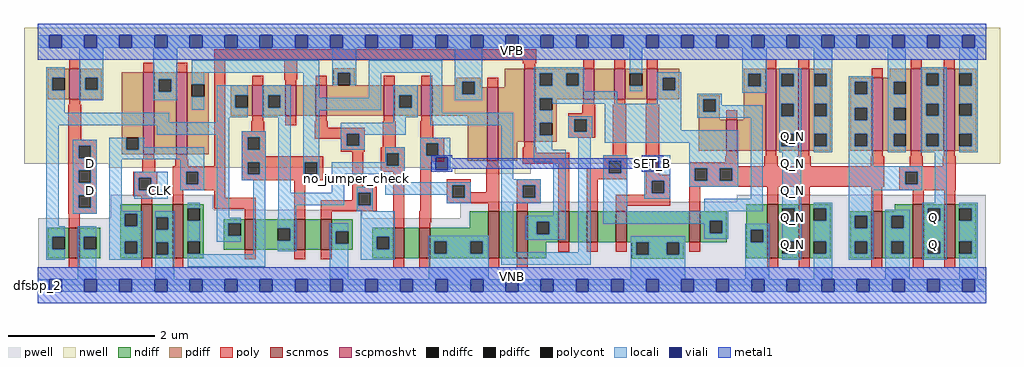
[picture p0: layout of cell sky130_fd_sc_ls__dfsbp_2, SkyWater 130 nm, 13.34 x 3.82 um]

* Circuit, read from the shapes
.subckt sky130_fd_sc_ls__dfsbp_2 CLK D SET_B VGND VNB VPB VPWR Q Q_N
XM1 VGND D n1 VNB sky130_fd_pr__nfet_01v8 w=0.42 l=0.15
XM2 VGND CLK n2 VNB sky130_fd_pr__nfet_01v8 w=0.74 l=0.15
XM3 n3 n2 VGND VNB sky130_fd_pr__nfet_01v8 w=0.74 l=0.15
XM4 n4 n2 n1 VNB sky130_fd_pr__nfet_01v8 w=0.42 l=0.15
XM5 n5 n3 n4 VNB sky130_fd_pr__nfet_01v8 w=0.42 l=0.15
XM6 VGND n6 n5 VNB sky130_fd_pr__nfet_01v8 w=0.42 l=0.15
XM7 n7 n4 n6 VNB sky130_fd_pr__nfet_01v8 w=0.42 l=0.15
XM8 VGND SET_B n7 VNB sky130_fd_pr__nfet_01v8 w=0.42 l=0.15
XM9 n8 n4 VGND VNB sky130_fd_pr__nfet_01v8 w=0.64 l=0.15
XM10 n9 n3 n8 VNB sky130_fd_pr__nfet_01v8 w=0.64 l=0.15
XM11 n10 n2 n9 VNB sky130_fd_pr__nfet_01v8 w=0.42 l=0.15
XM12 n11 n12 n10 VNB sky130_fd_pr__nfet_01v8 w=0.42 l=0.15
XM13 VGND SET_B n11 VNB sky130_fd_pr__nfet_01v8 w=0.42 l=0.15
XM14 n12 n9 VGND VNB sky130_fd_pr__nfet_01v8 w=0.42 l=0.15
XM15 Q_N n9 VGND VNB sky130_fd_pr__nfet_01v8 w=0.74 l=0.15 m=2
XM16 VGND n9 n13 VNB sky130_fd_pr__nfet_01v8 w=0.64 l=0.15
XM17 Q n13 VGND VNB sky130_fd_pr__nfet_01v8 w=0.74 l=0.15 m=2
XM18 VPWR D n1 VPB sky130_fd_pr__pfet_01v8_hvt w=0.42 l=0.15
XM19 VPWR CLK n2 VPB sky130_fd_pr__pfet_01v8_hvt w=1.12 l=0.15
XM20 n3 n2 VPWR VPB sky130_fd_pr__pfet_01v8_hvt w=1.12 l=0.15
XM21 n4 n3 n1 VPB sky130_fd_pr__pfet_01v8_hvt w=0.42 l=0.15
XM22 n14 n2 n4 VPB sky130_fd_pr__pfet_01v8_hvt w=0.42 l=0.15
XM23 VPWR n6 n14 VPB sky130_fd_pr__pfet_01v8_hvt w=0.42 l=0.15
XM24 n6 n4 VPWR VPB sky130_fd_pr__pfet_01v8_hvt w=0.42 l=0.15
XM25 VPWR SET_B n6 VPB sky130_fd_pr__pfet_01v8_hvt w=0.42 l=0.15
XM26 n15 n4 VPWR VPB sky130_fd_pr__pfet_01v8_hvt w=1 l=0.15
XM27 n9 n2 n15 VPB sky130_fd_pr__pfet_01v8_hvt w=1 l=0.15
XM28 n16 n3 n9 VPB sky130_fd_pr__pfet_01v8_hvt w=0.42 l=0.15
XM29 VPWR n12 n16 VPB sky130_fd_pr__pfet_01v8_hvt w=0.42 l=0.15
XM30 n9 SET_B VPWR VPB sky130_fd_pr__pfet_01v8_hvt w=0.42 l=0.15
XM31 VPWR n9 n12 VPB sky130_fd_pr__pfet_01v8_hvt w=0.42 l=0.15
XM32 Q_N n9 VPWR VPB sky130_fd_pr__pfet_01v8_hvt w=1.12 l=0.15 m=2
XM33 VPWR n9 n13 VPB sky130_fd_pr__pfet_01v8_hvt w=1 l=0.15
XM34 Q n13 VPWR VPB sky130_fd_pr__pfet_01v8_hvt w=1.12 l=0.15 m=2
.ends

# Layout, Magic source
magic
tech sky130A
magscale 1 2
<< nwell >>
rect -38 332 2630 704
rect 193 322 1347 332
rect 1139 305 1347 322
<< pwell >>
rect 199 207 480 248
rect 1911 228 2591 248
rect 199 184 886 207
rect 1155 184 2591 228
rect 1 49 2591 184
rect 0 0 2592 49
<< scnmos >>
rect 84 74 114 158
rect 282 74 312 222
rect 368 74 398 222
rect 565 97 595 181
rect 701 97 731 181
rect 773 97 803 181
rect 971 74 1001 158
rect 1043 74 1073 158
rect 1231 74 1261 202
rect 1309 74 1339 202
rect 1423 118 1453 202
rect 1501 118 1531 202
rect 1579 118 1609 202
rect 1780 118 1810 202
rect 1994 74 2024 222
rect 2080 74 2110 222
rect 2278 74 2308 202
rect 2392 74 2422 222
rect 2478 74 2508 222
<< scpmoshvt >>
rect 86 508 116 592
rect 288 358 318 582
rect 378 358 408 582
rect 586 463 616 547
rect 676 463 706 547
rect 760 463 790 547
rect 945 463 975 547
rect 1048 463 1078 547
rect 1228 341 1258 541
rect 1329 392 1359 592
rect 1491 508 1521 592
rect 1575 508 1605 592
rect 1665 508 1695 592
rect 1882 368 1912 452
rect 1989 368 2019 592
rect 2079 368 2109 592
rect 2280 368 2310 568
rect 2386 368 2416 592
rect 2476 368 2506 592
<< ndiff >>
rect 225 195 282 222
rect 225 161 237 195
rect 271 161 282 195
rect 27 133 84 158
rect 27 99 39 133
rect 73 99 84 133
rect 27 74 84 99
rect 114 133 171 158
rect 114 99 125 133
rect 159 99 171 133
rect 114 74 171 99
rect 225 120 282 161
rect 225 86 237 120
rect 271 86 282 120
rect 225 74 282 86
rect 312 186 368 222
rect 312 152 323 186
rect 357 152 368 186
rect 312 118 368 152
rect 312 84 323 118
rect 357 84 368 118
rect 312 74 368 84
rect 398 210 454 222
rect 398 176 409 210
rect 443 176 454 210
rect 398 120 454 176
rect 398 86 409 120
rect 443 86 454 120
rect 508 169 565 181
rect 508 135 520 169
rect 554 135 565 169
rect 508 97 565 135
rect 595 156 701 181
rect 595 122 656 156
rect 690 122 701 156
rect 595 97 701 122
rect 731 97 773 181
rect 803 148 860 181
rect 1181 158 1231 202
rect 803 114 814 148
rect 848 114 860 148
rect 803 97 860 114
rect 914 133 971 158
rect 914 99 926 133
rect 960 99 971 133
rect 398 74 454 86
rect 914 74 971 99
rect 1001 74 1043 158
rect 1073 120 1231 158
rect 1073 86 1084 120
rect 1118 86 1182 120
rect 1216 86 1231 120
rect 1073 74 1231 86
rect 1261 74 1309 202
rect 1339 174 1423 202
rect 1339 140 1364 174
rect 1398 140 1423 174
rect 1339 118 1423 140
rect 1453 118 1501 202
rect 1531 118 1579 202
rect 1609 118 1780 202
rect 1810 177 1883 202
rect 1810 143 1837 177
rect 1871 143 1883 177
rect 1810 118 1883 143
rect 1937 152 1994 222
rect 1937 118 1949 152
rect 1983 118 1994 152
rect 1339 74 1389 118
rect 1624 84 1636 118
rect 1670 84 1719 118
rect 1753 84 1765 118
rect 1624 72 1765 84
rect 1937 74 1994 118
rect 2024 210 2080 222
rect 2024 176 2035 210
rect 2069 176 2080 210
rect 2024 120 2080 176
rect 2024 86 2035 120
rect 2069 86 2080 120
rect 2024 74 2080 86
rect 2110 210 2167 222
rect 2110 176 2121 210
rect 2155 176 2167 210
rect 2342 202 2392 222
rect 2110 120 2167 176
rect 2110 86 2121 120
rect 2155 86 2167 120
rect 2110 74 2167 86
rect 2221 190 2278 202
rect 2221 156 2233 190
rect 2267 156 2278 190
rect 2221 120 2278 156
rect 2221 86 2233 120
rect 2267 86 2278 120
rect 2221 74 2278 86
rect 2308 190 2392 202
rect 2308 156 2333 190
rect 2367 156 2392 190
rect 2308 120 2392 156
rect 2308 86 2333 120
rect 2367 86 2392 120
rect 2308 74 2392 86
rect 2422 210 2478 222
rect 2422 176 2433 210
rect 2467 176 2478 210
rect 2422 120 2478 176
rect 2422 86 2433 120
rect 2467 86 2478 120
rect 2422 74 2478 86
rect 2508 210 2565 222
rect 2508 176 2519 210
rect 2553 176 2565 210
rect 2508 120 2565 176
rect 2508 86 2519 120
rect 2553 86 2565 120
rect 2508 74 2565 86
<< pdiff >>
rect 27 567 86 592
rect 27 533 39 567
rect 73 533 86 567
rect 27 508 86 533
rect 116 568 175 592
rect 116 534 129 568
rect 163 534 175 568
rect 116 508 175 534
rect 229 404 288 582
rect 229 370 241 404
rect 275 370 288 404
rect 229 358 288 370
rect 318 563 378 582
rect 318 529 331 563
rect 365 529 378 563
rect 318 358 378 529
rect 408 550 467 582
rect 408 516 421 550
rect 455 516 467 550
rect 408 358 467 516
rect 808 581 866 593
rect 808 547 820 581
rect 854 547 866 581
rect 1144 556 1210 568
rect 1144 547 1160 556
rect 527 520 586 547
rect 527 486 539 520
rect 573 486 586 520
rect 527 463 586 486
rect 616 520 676 547
rect 616 486 629 520
rect 663 486 676 520
rect 616 463 676 486
rect 706 463 760 547
rect 790 463 945 547
rect 975 520 1048 547
rect 975 486 988 520
rect 1022 486 1048 520
rect 975 463 1048 486
rect 1078 522 1160 547
rect 1194 541 1210 556
rect 1276 541 1329 592
rect 1194 522 1228 541
rect 1078 463 1228 522
rect 1175 341 1228 463
rect 1258 392 1329 541
rect 1359 580 1491 592
rect 1359 546 1372 580
rect 1406 546 1444 580
rect 1478 546 1491 580
rect 1359 512 1491 546
rect 1359 478 1372 512
rect 1406 508 1491 512
rect 1521 508 1575 592
rect 1605 580 1665 592
rect 1605 546 1618 580
rect 1652 546 1665 580
rect 1605 508 1665 546
rect 1695 567 1753 592
rect 1695 533 1708 567
rect 1742 533 1753 567
rect 1695 508 1753 533
rect 1930 578 1989 592
rect 1930 544 1942 578
rect 1976 544 1989 578
rect 1807 508 1864 520
rect 1406 478 1418 508
rect 1359 444 1418 478
rect 1359 410 1372 444
rect 1406 410 1418 444
rect 1359 392 1418 410
rect 1258 341 1311 392
rect 1807 474 1819 508
rect 1853 474 1864 508
rect 1807 452 1864 474
rect 1930 452 1989 544
rect 1807 368 1882 452
rect 1912 368 1989 452
rect 2019 578 2079 592
rect 2019 544 2032 578
rect 2066 544 2079 578
rect 2019 496 2079 544
rect 2019 462 2032 496
rect 2066 462 2079 496
rect 2019 414 2079 462
rect 2019 380 2032 414
rect 2066 380 2079 414
rect 2019 368 2079 380
rect 2109 578 2167 592
rect 2109 544 2122 578
rect 2156 544 2167 578
rect 2328 568 2386 592
rect 2109 496 2167 544
rect 2109 462 2122 496
rect 2156 462 2167 496
rect 2109 414 2167 462
rect 2109 380 2122 414
rect 2156 380 2167 414
rect 2109 368 2167 380
rect 2221 556 2280 568
rect 2221 522 2233 556
rect 2267 522 2280 556
rect 2221 485 2280 522
rect 2221 451 2233 485
rect 2267 451 2280 485
rect 2221 414 2280 451
rect 2221 380 2233 414
rect 2267 380 2280 414
rect 2221 368 2280 380
rect 2310 556 2386 568
rect 2310 522 2339 556
rect 2373 522 2386 556
rect 2310 485 2386 522
rect 2310 451 2339 485
rect 2373 451 2386 485
rect 2310 414 2386 451
rect 2310 380 2339 414
rect 2373 380 2386 414
rect 2310 368 2386 380
rect 2416 580 2476 592
rect 2416 546 2429 580
rect 2463 546 2476 580
rect 2416 497 2476 546
rect 2416 463 2429 497
rect 2463 463 2476 497
rect 2416 414 2476 463
rect 2416 380 2429 414
rect 2463 380 2476 414
rect 2416 368 2476 380
rect 2506 580 2565 592
rect 2506 546 2519 580
rect 2553 546 2565 580
rect 2506 497 2565 546
rect 2506 463 2519 497
rect 2553 463 2565 497
rect 2506 414 2565 463
rect 2506 380 2519 414
rect 2553 380 2565 414
rect 2506 368 2565 380
<< ndiffc >>
rect 237 161 271 195
rect 39 99 73 133
rect 125 99 159 133
rect 237 86 271 120
rect 323 152 357 186
rect 323 84 357 118
rect 409 176 443 210
rect 409 86 443 120
rect 520 135 554 169
rect 656 122 690 156
rect 814 114 848 148
rect 926 99 960 133
rect 1084 86 1118 120
rect 1182 86 1216 120
rect 1364 140 1398 174
rect 1837 143 1871 177
rect 1949 118 1983 152
rect 1636 84 1670 118
rect 1719 84 1753 118
rect 2035 176 2069 210
rect 2035 86 2069 120
rect 2121 176 2155 210
rect 2121 86 2155 120
rect 2233 156 2267 190
rect 2233 86 2267 120
rect 2333 156 2367 190
rect 2333 86 2367 120
rect 2433 176 2467 210
rect 2433 86 2467 120
rect 2519 176 2553 210
rect 2519 86 2553 120
<< pdiffc >>
rect 39 533 73 567
rect 129 534 163 568
rect 241 370 275 404
rect 331 529 365 563
rect 421 516 455 550
rect 820 547 854 581
rect 539 486 573 520
rect 629 486 663 520
rect 988 486 1022 520
rect 1160 522 1194 556
rect 1372 546 1406 580
rect 1444 546 1478 580
rect 1372 478 1406 512
rect 1618 546 1652 580
rect 1708 533 1742 567
rect 1942 544 1976 578
rect 1372 410 1406 444
rect 1819 474 1853 508
rect 2032 544 2066 578
rect 2032 462 2066 496
rect 2032 380 2066 414
rect 2122 544 2156 578
rect 2122 462 2156 496
rect 2122 380 2156 414
rect 2233 522 2267 556
rect 2233 451 2267 485
rect 2233 380 2267 414
rect 2339 522 2373 556
rect 2339 451 2373 485
rect 2339 380 2373 414
rect 2429 546 2463 580
rect 2429 463 2463 497
rect 2429 380 2463 414
rect 2519 546 2553 580
rect 2519 463 2553 497
rect 2519 380 2553 414
<< poly >>
rect 86 592 116 618
rect 482 615 1362 645
rect 288 582 318 608
rect 378 582 408 608
rect 86 493 116 508
rect 83 398 119 493
rect 83 382 161 398
rect 83 348 111 382
rect 145 348 161 382
rect 83 314 161 348
rect 288 343 318 358
rect 378 343 408 358
rect 83 280 111 314
rect 145 280 161 314
rect 285 310 321 343
rect 375 326 411 343
rect 482 326 512 615
rect 586 547 616 573
rect 673 562 709 615
rect 1326 607 1362 615
rect 1329 592 1359 607
rect 1491 592 1521 618
rect 1575 592 1605 618
rect 1665 592 1695 618
rect 1989 592 2019 618
rect 2079 592 2109 618
rect 676 547 706 562
rect 760 547 790 573
rect 945 547 975 573
rect 1048 547 1078 573
rect 1228 541 1258 567
rect 586 448 616 463
rect 583 421 619 448
rect 676 437 706 463
rect 760 448 790 463
rect 945 448 975 463
rect 1048 448 1078 463
rect 757 431 793 448
rect 368 310 512 326
rect 83 246 161 280
rect 83 212 111 246
rect 145 212 161 246
rect 260 294 326 310
rect 260 260 276 294
rect 310 260 326 294
rect 260 244 326 260
rect 368 276 405 310
rect 439 276 512 310
rect 557 405 623 421
rect 557 371 573 405
rect 607 371 623 405
rect 757 415 894 431
rect 757 401 844 415
rect 557 353 623 371
rect 828 381 844 401
rect 878 381 894 415
rect 828 365 894 381
rect 942 377 978 448
rect 1045 404 1081 448
rect 1045 388 1111 404
rect 557 337 780 353
rect 557 303 573 337
rect 607 303 730 337
rect 764 303 780 337
rect 557 287 780 303
rect 368 260 512 276
rect 282 222 312 244
rect 368 222 398 260
rect 482 239 512 260
rect 83 196 161 212
rect 84 158 114 196
rect 482 209 595 239
rect 565 181 595 209
rect 701 181 731 287
rect 859 269 889 365
rect 937 361 1003 377
rect 937 327 953 361
rect 987 327 1003 361
rect 937 311 1003 327
rect 1045 354 1061 388
rect 1095 354 1111 388
rect 1045 338 1111 354
rect 1491 493 1521 508
rect 1575 493 1605 508
rect 1665 493 1695 508
rect 1488 470 1524 493
rect 1450 454 1524 470
rect 1450 420 1466 454
rect 1500 420 1524 454
rect 1450 404 1524 420
rect 1329 377 1359 392
rect 1326 362 1362 377
rect 859 253 926 269
rect 859 233 876 253
rect 773 219 876 233
rect 910 219 926 253
rect 773 203 926 219
rect 773 181 803 203
rect 971 158 1001 311
rect 1045 203 1075 338
rect 1228 326 1258 341
rect 1326 332 1453 362
rect 1572 356 1608 493
rect 1117 274 1183 290
rect 1117 240 1133 274
rect 1167 254 1183 274
rect 1225 254 1261 326
rect 1167 240 1261 254
rect 1117 224 1261 240
rect 1043 173 1075 203
rect 1231 202 1261 224
rect 1309 274 1375 290
rect 1309 240 1325 274
rect 1359 240 1375 274
rect 1309 224 1375 240
rect 1309 202 1339 224
rect 1423 202 1453 332
rect 1545 340 1611 356
rect 1545 320 1561 340
rect 1501 306 1561 320
rect 1595 306 1611 340
rect 1501 290 1611 306
rect 1662 302 1698 493
rect 1882 452 1912 478
rect 2280 568 2310 594
rect 2386 592 2416 618
rect 2476 592 2506 618
rect 1882 353 1912 368
rect 1989 353 2019 368
rect 2079 353 2109 368
rect 2280 353 2310 368
rect 2386 353 2416 368
rect 2476 353 2506 368
rect 1879 336 1915 353
rect 1780 326 1915 336
rect 1986 326 2022 353
rect 2076 326 2112 353
rect 2277 326 2313 353
rect 2383 326 2419 353
rect 2473 326 2509 353
rect 1780 320 2313 326
rect 1501 202 1531 290
rect 1662 286 1728 302
rect 1662 252 1678 286
rect 1712 252 1728 286
rect 1662 248 1728 252
rect 1579 218 1728 248
rect 1780 286 1796 320
rect 1830 286 1864 320
rect 1898 286 2313 320
rect 1780 270 2313 286
rect 2355 310 2509 326
rect 2355 276 2371 310
rect 2405 276 2509 310
rect 1579 202 1609 218
rect 1780 202 1810 270
rect 1994 222 2024 270
rect 2080 222 2110 270
rect 1043 158 1073 173
rect 84 48 114 74
rect 282 48 312 74
rect 368 48 398 74
rect 565 71 595 97
rect 701 71 731 97
rect 773 71 803 97
rect 1423 92 1453 118
rect 1501 92 1531 118
rect 1579 92 1609 118
rect 1780 92 1810 118
rect 971 48 1001 74
rect 1043 48 1073 74
rect 1231 48 1261 74
rect 1309 48 1339 74
rect 2278 202 2308 270
rect 2355 260 2509 276
rect 2392 222 2422 260
rect 2478 222 2508 260
rect 1994 48 2024 74
rect 2080 48 2110 74
rect 2278 48 2308 74
rect 2392 48 2422 74
rect 2478 48 2508 74
<< polycont >>
rect 111 348 145 382
rect 111 280 145 314
rect 111 212 145 246
rect 276 260 310 294
rect 405 276 439 310
rect 573 371 607 405
rect 844 381 878 415
rect 573 303 607 337
rect 730 303 764 337
rect 953 327 987 361
rect 1061 354 1095 388
rect 1466 420 1500 454
rect 876 219 910 253
rect 1133 240 1167 274
rect 1325 240 1359 274
rect 1561 306 1595 340
rect 1678 252 1712 286
rect 1796 286 1830 320
rect 1864 286 1898 320
rect 2371 276 2405 310
<< locali >>
rect 0 649 31 683
rect 65 649 127 683
rect 161 649 223 683
rect 257 649 319 683
rect 353 649 415 683
rect 449 649 511 683
rect 545 649 607 683
rect 641 649 703 683
rect 737 649 799 683
rect 833 649 895 683
rect 929 649 991 683
rect 1025 649 1087 683
rect 1121 649 1183 683
rect 1217 649 1279 683
rect 1313 649 1375 683
rect 1409 649 1471 683
rect 1505 649 1567 683
rect 1601 649 1663 683
rect 1697 649 1759 683
rect 1793 649 1855 683
rect 1889 649 1951 683
rect 1985 649 2047 683
rect 2081 649 2143 683
rect 2177 649 2239 683
rect 2273 649 2335 683
rect 2369 649 2431 683
rect 2465 649 2527 683
rect 2561 649 2592 683
rect 23 567 73 596
rect 23 533 39 567
rect 23 472 73 533
rect 113 568 179 649
rect 113 534 129 568
rect 163 534 179 568
rect 113 506 179 534
rect 315 563 381 649
rect 315 529 331 563
rect 365 529 381 563
rect 315 506 381 529
rect 421 581 769 615
rect 421 550 455 581
rect 421 480 455 516
rect 489 520 573 547
rect 489 486 539 520
rect 23 446 359 472
rect 489 459 573 486
rect 613 520 691 547
rect 613 486 629 520
rect 663 486 691 520
rect 613 459 691 486
rect 489 446 523 459
rect 23 438 523 446
rect 23 162 57 438
rect 325 412 523 438
rect 95 382 161 398
rect 95 348 111 382
rect 145 348 161 382
rect 95 314 161 348
rect 95 280 111 314
rect 145 280 161 314
rect 95 246 161 280
rect 95 212 111 246
rect 145 212 161 246
rect 95 196 161 212
rect 195 370 241 404
rect 275 378 291 404
rect 275 370 455 378
rect 195 344 455 370
rect 195 202 229 344
rect 389 310 455 344
rect 263 294 355 310
rect 263 260 276 294
rect 310 260 355 294
rect 389 276 405 310
rect 439 276 455 310
rect 389 260 455 276
rect 263 236 355 260
rect 409 210 443 226
rect 195 195 287 202
rect 23 133 73 162
rect 23 99 39 133
rect 23 70 73 99
rect 109 133 159 162
rect 109 99 125 133
rect 109 17 159 99
rect 195 161 237 195
rect 271 161 287 195
rect 195 120 287 161
rect 195 86 237 120
rect 271 86 287 120
rect 195 70 287 86
rect 321 186 373 202
rect 321 152 323 186
rect 357 152 373 186
rect 321 118 373 152
rect 321 84 323 118
rect 357 84 373 118
rect 321 17 373 84
rect 409 120 443 176
rect 489 185 523 412
rect 557 405 623 421
rect 557 371 573 405
rect 607 371 623 405
rect 557 337 623 371
rect 557 303 573 337
rect 607 303 623 337
rect 557 287 623 303
rect 489 169 554 185
rect 489 135 520 169
rect 489 119 554 135
rect 409 85 443 86
rect 588 85 622 287
rect 657 253 691 459
rect 725 513 769 581
rect 804 581 870 649
rect 804 547 820 581
rect 854 547 870 581
rect 904 581 1106 615
rect 904 513 938 581
rect 725 479 938 513
rect 972 520 1038 547
rect 972 486 988 520
rect 1022 486 1038 520
rect 725 337 769 479
rect 972 459 1038 486
rect 1072 472 1106 581
rect 1140 556 1214 649
rect 1140 522 1160 556
rect 1194 522 1214 556
rect 1140 506 1214 522
rect 1356 580 1494 596
rect 1356 546 1372 580
rect 1406 546 1444 580
rect 1478 546 1494 580
rect 1356 530 1494 546
rect 1618 580 1652 649
rect 1618 530 1652 546
rect 1692 567 1758 583
rect 1692 533 1708 567
rect 1742 533 1758 567
rect 1356 512 1584 530
rect 1356 478 1372 512
rect 1406 496 1584 512
rect 1692 496 1758 533
rect 1926 578 1992 649
rect 1926 544 1942 578
rect 1976 544 1992 578
rect 1926 526 1992 544
rect 2026 578 2087 594
rect 2026 544 2032 578
rect 2066 544 2087 578
rect 972 445 1006 459
rect 828 415 1006 445
rect 1072 438 1300 472
rect 828 381 844 415
rect 878 411 1006 415
rect 878 381 894 411
rect 828 371 894 381
rect 1045 388 1127 404
rect 950 361 1003 377
rect 950 337 953 361
rect 725 303 730 337
rect 764 303 769 337
rect 725 287 769 303
rect 803 327 953 337
rect 987 327 1003 361
rect 803 303 1003 327
rect 1045 354 1061 388
rect 1095 354 1127 388
rect 1045 350 1127 354
rect 1045 316 1087 350
rect 1121 316 1127 350
rect 803 253 837 303
rect 950 282 1003 303
rect 1266 290 1300 438
rect 1356 444 1406 478
rect 1356 410 1372 444
rect 1356 370 1406 410
rect 1450 454 1516 462
rect 1450 420 1466 454
rect 1500 420 1516 454
rect 1450 404 1516 420
rect 1550 424 1758 496
rect 1803 508 1869 524
rect 1803 474 1819 508
rect 1853 492 1869 508
rect 2026 496 2087 544
rect 1853 474 1982 492
rect 1803 458 1982 474
rect 1356 336 1443 370
rect 950 274 1183 282
rect 657 219 837 253
rect 871 253 916 269
rect 871 219 876 253
rect 910 219 916 253
rect 950 248 1133 274
rect 1117 240 1133 248
rect 1167 240 1183 274
rect 1117 224 1183 240
rect 1266 274 1375 290
rect 1266 240 1325 274
rect 1359 240 1375 274
rect 1266 224 1375 240
rect 657 185 706 219
rect 871 203 916 219
rect 656 156 706 185
rect 690 122 706 156
rect 656 93 706 122
rect 798 148 848 169
rect 798 114 814 148
rect 409 51 622 85
rect 798 17 848 114
rect 882 133 976 203
rect 882 99 926 133
rect 960 99 976 133
rect 882 70 976 99
rect 1068 120 1232 136
rect 1068 86 1084 120
rect 1118 86 1182 120
rect 1216 86 1232 120
rect 1068 17 1232 86
rect 1266 90 1300 224
rect 1409 190 1443 336
rect 1334 174 1443 190
rect 1334 140 1364 174
rect 1398 140 1443 174
rect 1334 124 1443 140
rect 1477 90 1511 404
rect 1550 390 1914 424
rect 1545 340 1611 356
rect 1545 306 1561 340
rect 1595 306 1611 340
rect 1545 202 1611 306
rect 1657 350 1728 356
rect 1657 316 1663 350
rect 1697 316 1728 350
rect 1657 286 1728 316
rect 1657 252 1678 286
rect 1712 252 1728 286
rect 1780 320 1914 390
rect 1780 286 1796 320
rect 1830 286 1864 320
rect 1898 286 1914 320
rect 1780 270 1914 286
rect 1657 236 1728 252
rect 1948 236 1982 458
rect 2026 462 2032 496
rect 2066 462 2087 496
rect 2026 414 2087 462
rect 2026 380 2032 414
rect 2066 380 2087 414
rect 2026 364 2087 380
rect 2121 578 2172 649
rect 2121 544 2122 578
rect 2156 544 2172 578
rect 2121 496 2172 544
rect 2121 462 2122 496
rect 2156 462 2172 496
rect 2121 414 2172 462
rect 2121 380 2122 414
rect 2156 380 2172 414
rect 2121 364 2172 380
rect 2217 556 2283 572
rect 2217 522 2233 556
rect 2267 522 2283 556
rect 2217 485 2283 522
rect 2217 451 2233 485
rect 2267 451 2283 485
rect 2217 414 2283 451
rect 2217 380 2233 414
rect 2267 380 2283 414
rect 1821 202 1982 236
rect 2035 210 2087 364
rect 2217 326 2283 380
rect 2323 556 2373 649
rect 2323 522 2339 556
rect 2323 485 2373 522
rect 2323 451 2339 485
rect 2323 414 2373 451
rect 2323 380 2339 414
rect 2323 364 2373 380
rect 2413 580 2485 596
rect 2413 546 2429 580
rect 2463 546 2485 580
rect 2413 497 2485 546
rect 2413 463 2429 497
rect 2463 463 2485 497
rect 2413 414 2485 463
rect 2413 380 2429 414
rect 2463 380 2485 414
rect 2413 364 2485 380
rect 2519 580 2569 649
rect 2553 546 2569 580
rect 2519 497 2569 546
rect 2553 463 2569 497
rect 2519 414 2569 463
rect 2553 380 2569 414
rect 2519 364 2569 380
rect 2217 310 2417 326
rect 2217 276 2371 310
rect 2405 276 2417 310
rect 2217 260 2417 276
rect 1545 177 1887 202
rect 1545 168 1837 177
rect 1821 143 1837 168
rect 1871 143 1887 177
rect 2069 176 2087 210
rect 1266 56 1511 90
rect 1620 118 1769 134
rect 1821 127 1887 143
rect 1933 152 1999 168
rect 1620 84 1636 118
rect 1670 84 1719 118
rect 1753 84 1769 118
rect 1620 17 1769 84
rect 1933 118 1949 152
rect 1983 118 1999 152
rect 1933 17 1999 118
rect 2035 120 2087 176
rect 2069 86 2087 120
rect 2035 70 2087 86
rect 2121 210 2171 226
rect 2155 176 2171 210
rect 2121 120 2171 176
rect 2155 86 2171 120
rect 2121 17 2171 86
rect 2217 190 2283 260
rect 2451 226 2485 364
rect 2417 210 2485 226
rect 2217 156 2233 190
rect 2267 156 2283 190
rect 2217 120 2283 156
rect 2217 86 2233 120
rect 2267 86 2283 120
rect 2217 70 2283 86
rect 2317 190 2383 206
rect 2317 156 2333 190
rect 2367 156 2383 190
rect 2317 120 2383 156
rect 2317 86 2333 120
rect 2367 86 2383 120
rect 2317 17 2383 86
rect 2417 176 2433 210
rect 2467 176 2485 210
rect 2417 120 2485 176
rect 2417 86 2433 120
rect 2467 86 2485 120
rect 2417 70 2485 86
rect 2519 210 2569 226
rect 2553 176 2569 210
rect 2519 120 2569 176
rect 2553 86 2569 120
rect 2519 17 2569 86
rect 0 -17 31 17
rect 65 -17 127 17
rect 161 -17 223 17
rect 257 -17 319 17
rect 353 -17 415 17
rect 449 -17 511 17
rect 545 -17 607 17
rect 641 -17 703 17
rect 737 -17 799 17
rect 833 -17 895 17
rect 929 -17 991 17
rect 1025 -17 1087 17
rect 1121 -17 1183 17
rect 1217 -17 1279 17
rect 1313 -17 1375 17
rect 1409 -17 1471 17
rect 1505 -17 1567 17
rect 1601 -17 1663 17
rect 1697 -17 1759 17
rect 1793 -17 1855 17
rect 1889 -17 1951 17
rect 1985 -17 2047 17
rect 2081 -17 2143 17
rect 2177 -17 2239 17
rect 2273 -17 2335 17
rect 2369 -17 2431 17
rect 2465 -17 2527 17
rect 2561 -17 2592 17
<< viali >>
rect 31 649 65 683
rect 127 649 161 683
rect 223 649 257 683
rect 319 649 353 683
rect 415 649 449 683
rect 511 649 545 683
rect 607 649 641 683
rect 703 649 737 683
rect 799 649 833 683
rect 895 649 929 683
rect 991 649 1025 683
rect 1087 649 1121 683
rect 1183 649 1217 683
rect 1279 649 1313 683
rect 1375 649 1409 683
rect 1471 649 1505 683
rect 1567 649 1601 683
rect 1663 649 1697 683
rect 1759 649 1793 683
rect 1855 649 1889 683
rect 1951 649 1985 683
rect 2047 649 2081 683
rect 2143 649 2177 683
rect 2239 649 2273 683
rect 2335 649 2369 683
rect 2431 649 2465 683
rect 2527 649 2561 683
rect 1087 316 1121 350
rect 1663 316 1697 350
rect 31 -17 65 17
rect 127 -17 161 17
rect 223 -17 257 17
rect 319 -17 353 17
rect 415 -17 449 17
rect 511 -17 545 17
rect 607 -17 641 17
rect 703 -17 737 17
rect 799 -17 833 17
rect 895 -17 929 17
rect 991 -17 1025 17
rect 1087 -17 1121 17
rect 1183 -17 1217 17
rect 1279 -17 1313 17
rect 1375 -17 1409 17
rect 1471 -17 1505 17
rect 1567 -17 1601 17
rect 1663 -17 1697 17
rect 1759 -17 1793 17
rect 1855 -17 1889 17
rect 1951 -17 1985 17
rect 2047 -17 2081 17
rect 2143 -17 2177 17
rect 2239 -17 2273 17
rect 2335 -17 2369 17
rect 2431 -17 2465 17
rect 2527 -17 2561 17
<< metal1 >>
rect 0 683 2592 715
rect 0 649 31 683
rect 65 649 127 683
rect 161 649 223 683
rect 257 649 319 683
rect 353 649 415 683
rect 449 649 511 683
rect 545 649 607 683
rect 641 649 703 683
rect 737 649 799 683
rect 833 649 895 683
rect 929 649 991 683
rect 1025 649 1087 683
rect 1121 649 1183 683
rect 1217 649 1279 683
rect 1313 649 1375 683
rect 1409 649 1471 683
rect 1505 649 1567 683
rect 1601 649 1663 683
rect 1697 649 1759 683
rect 1793 649 1855 683
rect 1889 649 1951 683
rect 1985 649 2047 683
rect 2081 649 2143 683
rect 2177 649 2239 683
rect 2273 649 2335 683
rect 2369 649 2431 683
rect 2465 649 2527 683
rect 2561 649 2592 683
rect 0 617 2592 649
rect 1075 350 1133 356
rect 1075 316 1087 350
rect 1121 347 1133 350
rect 1651 350 1709 356
rect 1651 347 1663 350
rect 1121 319 1663 347
rect 1121 316 1133 319
rect 1075 310 1133 316
rect 1651 316 1663 319
rect 1697 316 1709 350
rect 1651 310 1709 316
rect 0 17 2592 49
rect 0 -17 31 17
rect 65 -17 127 17
rect 161 -17 223 17
rect 257 -17 319 17
rect 353 -17 415 17
rect 449 -17 511 17
rect 545 -17 607 17
rect 641 -17 703 17
rect 737 -17 799 17
rect 833 -17 895 17
rect 929 -17 991 17
rect 1025 -17 1087 17
rect 1121 -17 1183 17
rect 1217 -17 1279 17
rect 1313 -17 1375 17
rect 1409 -17 1471 17
rect 1505 -17 1567 17
rect 1601 -17 1663 17
rect 1697 -17 1759 17
rect 1793 -17 1855 17
rect 1889 -17 1951 17
rect 1985 -17 2047 17
rect 2081 -17 2143 17
rect 2177 -17 2239 17
rect 2273 -17 2335 17
rect 2369 -17 2431 17
rect 2465 -17 2527 17
rect 2561 -17 2592 17
rect 0 -49 2592 -17
<< labels >>
rlabel comment s 0 0 0 0 4 dfsbp_2
flabel comment s 871 291 871 291 0 FreeSans 200 0 0 0 no_jumper_check
flabel comment s 640 310 640 310 0 FreeSans 200 0 0 0 no_jumper_check
flabel pwell s 0 0 2592 49 0 FreeSans 200 0 0 0 VNB
port 5 nsew ground bidirectional
flabel nwell s 0 617 2592 666 0 FreeSans 200 0 0 0 VPB
port 6 nsew power bidirectional
flabel metal1 s 1663 316 1697 350 0 FreeSans 340 0 0 0 SET_B
port 3 nsew signal input
flabel metal1 s 0 617 2592 666 0 FreeSans 340 0 0 0 VPWR
port 7 nsew power bidirectional abutment
flabel metal1 s 0 0 2592 49 0 FreeSans 340 0 0 0 VGND
port 4 nsew ground bidirectional abutment
flabel locali s 319 242 353 276 0 FreeSans 340 0 0 0 CLK
port 1 nsew clock input
flabel locali s 127 242 161 276 0 FreeSans 340 0 0 0 D
port 2 nsew signal input
flabel locali s 127 316 161 350 0 FreeSans 340 0 0 0 D
port 2 nsew signal input
flabel locali s 2047 94 2081 128 0 FreeSans 340 0 0 0 Q_N
port 9 nsew signal output
flabel locali s 2047 168 2081 202 0 FreeSans 340 0 0 0 Q_N
port 9 nsew signal output
flabel locali s 2047 242 2081 276 0 FreeSans 340 0 0 0 Q_N
port 9 nsew signal output
flabel locali s 2047 316 2081 350 0 FreeSans 340 0 0 0 Q_N
port 9 nsew signal output
flabel locali s 2047 390 2081 424 0 FreeSans 340 0 0 0 Q_N
port 9 nsew signal output
flabel locali s 2431 94 2465 128 0 FreeSans 340 0 0 0 Q
port 8 nsew signal output
flabel locali s 2431 168 2465 202 0 FreeSans 340 0 0 0 Q
port 8 nsew signal output
<< properties >>
string LEFsite unit
string LEFclass CORE
string FIXED_BBOX 0 0 2592 666
string GDS_FILE $PDKPATH/libs.ref/sky130_fd_sc_ls/gds/sky130_fd_sc_ls.gds
string LEFsymmetry X Y
string GDS_END 1924260
string GDS_START 1904868
<< end >>
